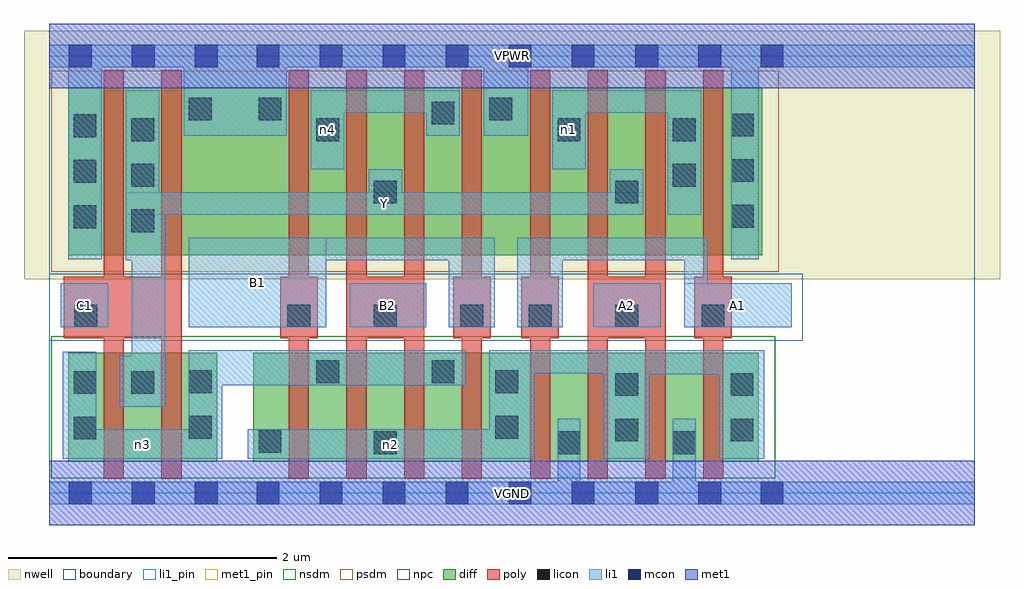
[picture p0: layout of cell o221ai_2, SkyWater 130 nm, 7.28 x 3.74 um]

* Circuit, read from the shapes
.subckt o221ai_2 A1 A2 B1 B2 C1 VGND VPWR Y n1 n2 n3 n4
XM1 Y C1 n3 VSUBS sky130_fd_pr__nfet_01v8 w=0.81 l=0.15 m=2
XM2 n3 B1 n2 VSUBS sky130_fd_pr__nfet_01v8 w=0.81 l=0.15 m=2
XM3 n2 B2 n3 VSUBS sky130_fd_pr__nfet_01v8 w=0.81 l=0.15 m=2
XM4 VGND A1 n2 VSUBS sky130_fd_pr__nfet_01v8 w=0.81 l=0.15 m=2
XM5 n2 A2 VGND VSUBS sky130_fd_pr__nfet_01v8 w=0.81 l=0.15 m=2
XM6 Y C1 VPWR n5 sky130_fd_pr__pfet_01v8 w=1.25 l=0.15 m=2
XM7 n4 B1 VPWR n5 sky130_fd_pr__pfet_01v8 w=1.25 l=0.15 m=2
XM8 Y B2 n4 n5 sky130_fd_pr__pfet_01v8 w=1.25 l=0.15 m=2
XM9 n1 A1 VPWR n5 sky130_fd_pr__pfet_01v8 w=1.25 l=0.15 m=2
XM10 Y A2 n1 n5 sky130_fd_pr__pfet_01v8 w=1.25 l=0.15 m=2
.ends

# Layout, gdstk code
import gdstk
lib = gdstk.Library(unit=1e-6, precision=1e-09)
def R(c, l, rs):  # rectangles x0, y0, x1, y1
    for r in rs: c.add(gdstk.rectangle(r[:2], r[2:], *l))
def A(c, l, x, y, w, h, nx, ny, dx, dy):  # array of equal rectangles
    R(c, l, [(x+i*dx, y+j*dy, x+i*dx+w, y+j*dy+h) for i in range(nx) for j in range(ny)])
nwell = (64, 20)
diff = (65, 20)
poly = (66, 20)
licon = (66, 44)
li1_pin = (67, 16)
li1 = (67, 20)
mcon = (67, 44)
met1_pin = (68, 16)
met1 = (68, 20)
nsdm = (93, 44)
psdm = (94, 20)
npc = (95, 20)
boundary = (235, 4)

o221ai_2 = lib.new_cell('o221ai_2')
R(o221ai_2, nwell, [(-0.19,1.595,7.09,3.45), (0,1.595,6.9,3.45)])
R(o221ai_2, diff, [(0.14,0.235,1.25,1.045), (1.52,0.235,5.29,1.045), (0.14,1.775,5.315,3.025)])
A(o221ai_2, poly, 1.785, 0.105, 0.15, 3.05, 4, 1, 0.43, 0)
A(o221ai_2, poly, 3.585, 0.105, 0.15, 3.05, 4, 1, 0.43, 0)
R(o221ai_2, poly, [(0.405,0.105,0.555,3.155), (0.835,0.105,0.985,3.155), (0.105,1.155,0.985,1.615), (1.72,1.155,2,1.615), (2.215,1.155,2.795,1.615), (3.01,1.155,3.29,1.615), (3.52,1.155,3.8,1.615), (4.015,1.155,4.595,1.615), (4.81,1.155,5.09,1.615)])
A(o221ai_2, licon, 1.775, 1.235, 0.17, 0.17, 3, 1, 0.645, 0)
A(o221ai_2, licon, 3.575, 1.235, 0.17, 0.17, 3, 1, 0.645, 0)
A(o221ai_2, licon, 0.61, 1.945, 0.17, 0.17, 1, 3, 0, 0.34)
A(o221ai_2, licon, 0.18, 1.975, 0.17, 0.17, 1, 3, 0, 0.34)
A(o221ai_2, licon, 5.085, 1.98, 0.17, 0.17, 1, 3, 0, 0.34)
R(o221ai_2, licon, [(2.42,0.29,2.59,0.46), (3.79,0.29,3.96,0.46), (4.65,0.29,4.82,0.46), (1.56,0.3,1.73,0.47), (4.22,0.385,4.39,0.555), (5.08,0.385,5.25,0.555), (0.18,0.4,0.35,0.57), (1.04,0.405,1.21,0.575), (3.325,0.405,3.495,0.575), (4.22,0.725,4.39,0.895), (5.08,0.725,5.25,0.895), (0.18,0.74,0.35,0.91), (0.61,0.74,0.78,0.91), (1.04,0.745,1.21,0.915), (3.325,0.745,3.495,0.915), (1.99,0.82,2.16,0.99), (2.85,0.82,3.02,0.99), (0.185,1.235,0.355,1.405), (2.42,2.16,2.59,2.33), (4.22,2.16,4.39,2.33), (4.65,2.285,4.82,2.455), (1.99,2.625,2.16,2.795), (3.79,2.625,3.96,2.795), (4.65,2.625,4.82,2.795), (2.85,2.75,3.02,2.92), (1.04,2.78,1.21,2.95), (1.56,2.78,1.73,2.95), (3.28,2.78,3.45,2.95)])
R(o221ai_2, li1_pin, [(0.085,1.235,0.44,1.565), (1.04,1.235,2.065,1.905), (2.24,1.235,2.81,1.565), (4.055,1.235,4.56,1.565), (4.735,1.235,5.535,1.565), (0.57,2.075,4.43,2.245)])
R(o221ai_2, li1, [(0,-0.085,6.9,0.085), (3.79,-0.085,3.96,0.555), (4.65,-0.085,4.82,0.555), (0.1,0.255,1.29,0.475), (0.1,0.255,0.35,1.055), (1.04,0.255,1.29,1.065), (1.48,0.255,3.615,0.475), (3.28,0.255,3.615,1.065), (4.135,0.255,4.475,1.065), (4.995,0.255,5.33,1.065), (0.525,0.645,0.865,1.025), (0.615,0.645,0.865,2.245), (1.04,0.805,3.105,1.065), (4.135,0.885,5.33,1.065), (3.28,0.895,5.33,1.065), (0.085,1.235,0.44,1.565), (1.04,1.235,2.065,1.905), (2.24,1.235,2.81,1.565), (2.98,1.235,3.32,1.905), (3.49,1.235,3.83,1.905), (4.055,1.235,4.56,1.565), (4.735,1.235,5.535,1.565), (4.735,1.235,4.91,1.905), (0.57,1.735,0.82,3.005), (1.04,1.735,3.32,1.905), (3.49,1.735,4.91,1.905), (0.14,1.745,0.39,3.345), (5.085,1.745,5.29,3.345), (0.57,2.075,4.43,2.245), (2.38,2.075,2.63,2.415), (4.18,2.075,4.43,2.415), (4.61,2.075,4.86,3.005), (1.95,2.415,2.2,3.005), (3.75,2.415,4,3.005), (1,2.665,1.77,3.345), (2.81,2.665,3.06,3.005), (3.24,2.665,3.57,3.345), (1.95,2.835,3.06,3.005), (3.75,2.835,4.86,3.005), (0,3.175,6.9,3.345)])
A(o221ai_2, mcon, 0.145, -0.085, 0.17, 0.17, 3, 2, 0.47, 3.26)
A(o221ai_2, mcon, 1.545, -0.085, 0.17, 0.17, 6, 2, 0.47, 3.26)
R(o221ai_2, mcon, [(4.37,-0.085,4.54,0.085), (4.84,-0.085,5.01,0.085), (5.305,-0.085,5.475,0.085), (4.37,3.175,4.54,3.345), (4.84,3.175,5.01,3.345), (5.305,3.175,5.475,3.345)])
R(o221ai_2, met1_pin, [(0,-0.24,6.9,0.24), (0,3.02,6.9,3.5)])
R(o221ai_2, met1, [(0,-0.24,6.9,0.24), (0,3.02,6.9,3.5)])
R(o221ai_2, nsdm, [(0.015,0.11,5.415,1.17)])
R(o221ai_2, psdm, [(0.015,1.65,5.44,3.15)])
R(o221ai_2, npc, [(0,1.135,5.62,1.635)])
R(o221ai_2, boundary, [(0,0,6.9,3.26)])
o221ai_2.add(gdstk.Label('A1', (5.135,1.4), layer=67, texttype=5))
o221ai_2.add(gdstk.Label('A2', (4.307,1.4), layer=67, texttype=5))
o221ai_2.add(gdstk.Label('B1', (1.552,1.57), layer=67, texttype=5))
o221ai_2.add(gdstk.Label('B2', (2.525,1.4), layer=67, texttype=5))
o221ai_2.add(gdstk.Label('C1', (0.262,1.4), layer=67, texttype=5))
o221ai_2.add(gdstk.Label('Y', (2.5,2.16), layer=67, texttype=5))
o221ai_2.add(gdstk.Label('n3', (0.695,0.365), layer=67, texttype=5))
o221ai_2.add(gdstk.Label('n2', (2.547,0.365), layer=67, texttype=5))
o221ai_2.add(gdstk.Label('n4', (2.075,2.71), layer=67, texttype=5))
o221ai_2.add(gdstk.Label('n1', (3.875,2.71), layer=67, texttype=5))
o221ai_2.add(gdstk.Label('VPWR', (3.45,3.26), layer=68, texttype=5))
o221ai_2.add(gdstk.Label('VGND', (3.45,0), layer=68, texttype=5))
o221ai_2.add(gdstk.Label('A1', (5.135,1.4), layer=67, texttype=16))
o221ai_2.add(gdstk.Label('A2', (4.307,1.4), layer=67, texttype=16))
o221ai_2.add(gdstk.Label('B1', (1.552,1.57), layer=67, texttype=16))
o221ai_2.add(gdstk.Label('B2', (2.525,1.4), layer=67, texttype=16))
o221ai_2.add(gdstk.Label('C1', (0.262,1.4), layer=67, texttype=16))
o221ai_2.add(gdstk.Label('Y', (2.5,2.16), layer=67, texttype=16))
o221ai_2.add(gdstk.Label('VPWR', (3.45,3.26), layer=68, texttype=16))
o221ai_2.add(gdstk.Label('VGND', (3.45,0), layer=68, texttype=16))

lib.write_gds('o221ai_2.gds')
